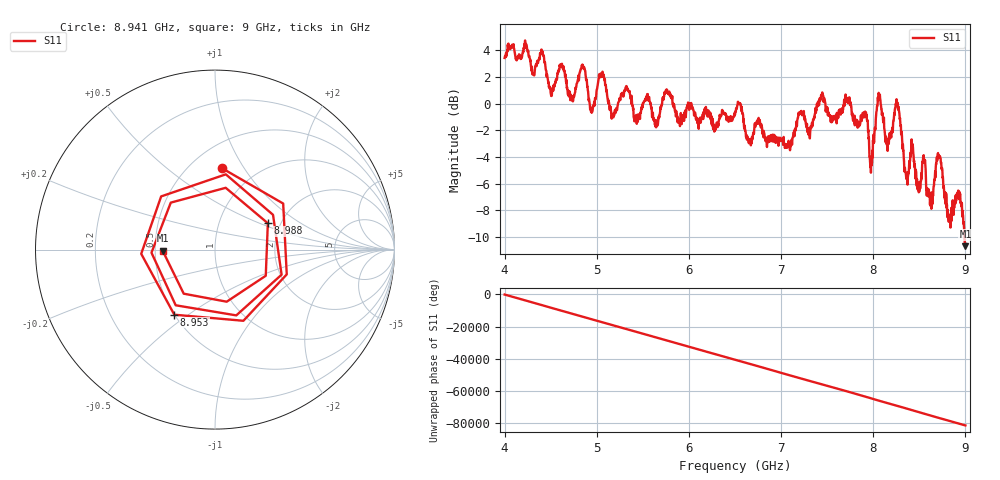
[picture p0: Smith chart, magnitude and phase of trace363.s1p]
! Created with skrf 1.8.0 (http://scikit-rf.org).
# Hz S RI R 50.0
!freq ReS11 ImS11
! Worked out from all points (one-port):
!   1601 points, 4 GHz to 9 GHz, reference 50 ohm
!   lowest |S11| = -10.7 dB at 9 GHz (marker M1), VSWR 1.82, Z = 27.4 - j0.34 ohm
!   |S11| at or under -10 dB: 8.991268 GHz to end of sweep
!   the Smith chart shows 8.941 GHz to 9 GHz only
!   S11 on the Smith chart (normalised r, x): 8.941 GHz: 0.70, +0.80; 8.953 GHz: 0.50, -0.44; 8.988 GHz: 1.72, +0.57; 9 GHz: 0.55, -0.01
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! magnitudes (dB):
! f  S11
! 4 GHz  3.4
! 4.403 GHz  3.9
! 4.506 GHz  0.6
! 4.625 GHz  2.8
! 4.719 GHz  0.4
! 4.85 GHz  2.9
! 4.944 GHz  -0.6
! 5.05 GHz  2.0
! 5.162 GHz  -1.1
! 5.25 GHz  0.3
! 5.875 GHz  -1.4
! 6.5 GHz  -0.8
! 7.125 GHz  -2.5
! 7.75 GHz  -0.1
! 7.916 GHz  -0.9
! 7.975 GHz  -5.2
! 8.059 GHz  0.8
! 8.156 GHz  -3.5
! 8.259 GHz  -0.1
! 8.375 GHz  -5.5
! 8.547 GHz  -3.9
! 8.628 GHz  -7.3
! 8.712 GHz  -3.9
! 8.825 GHz  -8.5
! 8.941 GHz  -6.8
! 8.953 GHz  -7.4
! 8.988 GHz  -9.7
! 9 GHz  -10.7
